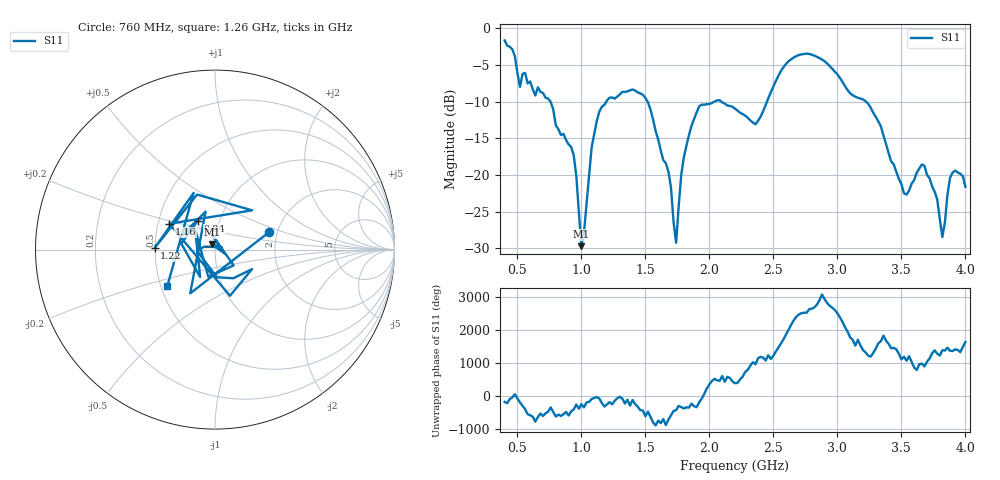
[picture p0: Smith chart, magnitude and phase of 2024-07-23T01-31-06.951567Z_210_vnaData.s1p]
!Created with skrf (http://scikit-rf.org).
# Hz S RI R 50.0
!freq ReS11 ImS11
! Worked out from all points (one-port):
!   181 points, 400 MHz to 4 GHz, reference 50 ohm
!   lowest |S11| = -29.7 dB at 1 GHz (marker M1), VSWR 1.07, Z = 48.4 + j2.79 ohm
!   |S11| at or under -10 dB: 759.3 MHz to 1.194 GHz (434.9 MHz wide, 44.5 % of centre); 1.518 GHz to 2.037 GHz (519.4 MHz wide, 29.2 % of centre); 3.224 GHz to end of sweep (the widest 3 of 4)
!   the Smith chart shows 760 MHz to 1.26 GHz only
!   S11 on the Smith chart (normalised r, x): 760 MHz: 1.81, +0.39; 840 MHz: 0.79, +0.26; 1.16 GHz: 0.57, +0.18; 1.22 GHz: 0.50, +0.01; 1.26 GHz: 0.54, -0.24
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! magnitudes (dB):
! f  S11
! 400 MHz  -1.6
! 520 MHz  -8.0
! 760 MHz  -10.0
! 840 MHz  -14.5
! 860 MHz  -14.4
! 940 MHz  -17.3
! 1 GHz  -29.7
! 1.08 GHz  -16.2
! 1.16 GHz  -10.7
! 1.22 GHz  -9.4
! 1.26 GHz  -9.6
! 1.3 GHz  -9.0
! 1.52 GHz  -10.1
! 1.68 GHz  -19.6
! 1.74 GHz  -29.2
! 1.76 GHz  -24.3
! 1.8 GHz  -17.6
! 1.92 GHz  -10.6
! 2.2 GHz  -10.9
! 2.36 GHz  -13.1
! 2.66 GHz  -4.0
! 3.1 GHz  -8.9
! 3.26 GHz  -10.8
! 3.56 GHz  -22.1
! 3.68 GHz  -18.7
! 3.82 GHz  -28.5
! 3.88 GHz  -20.4
! 4 GHz  -21.6
